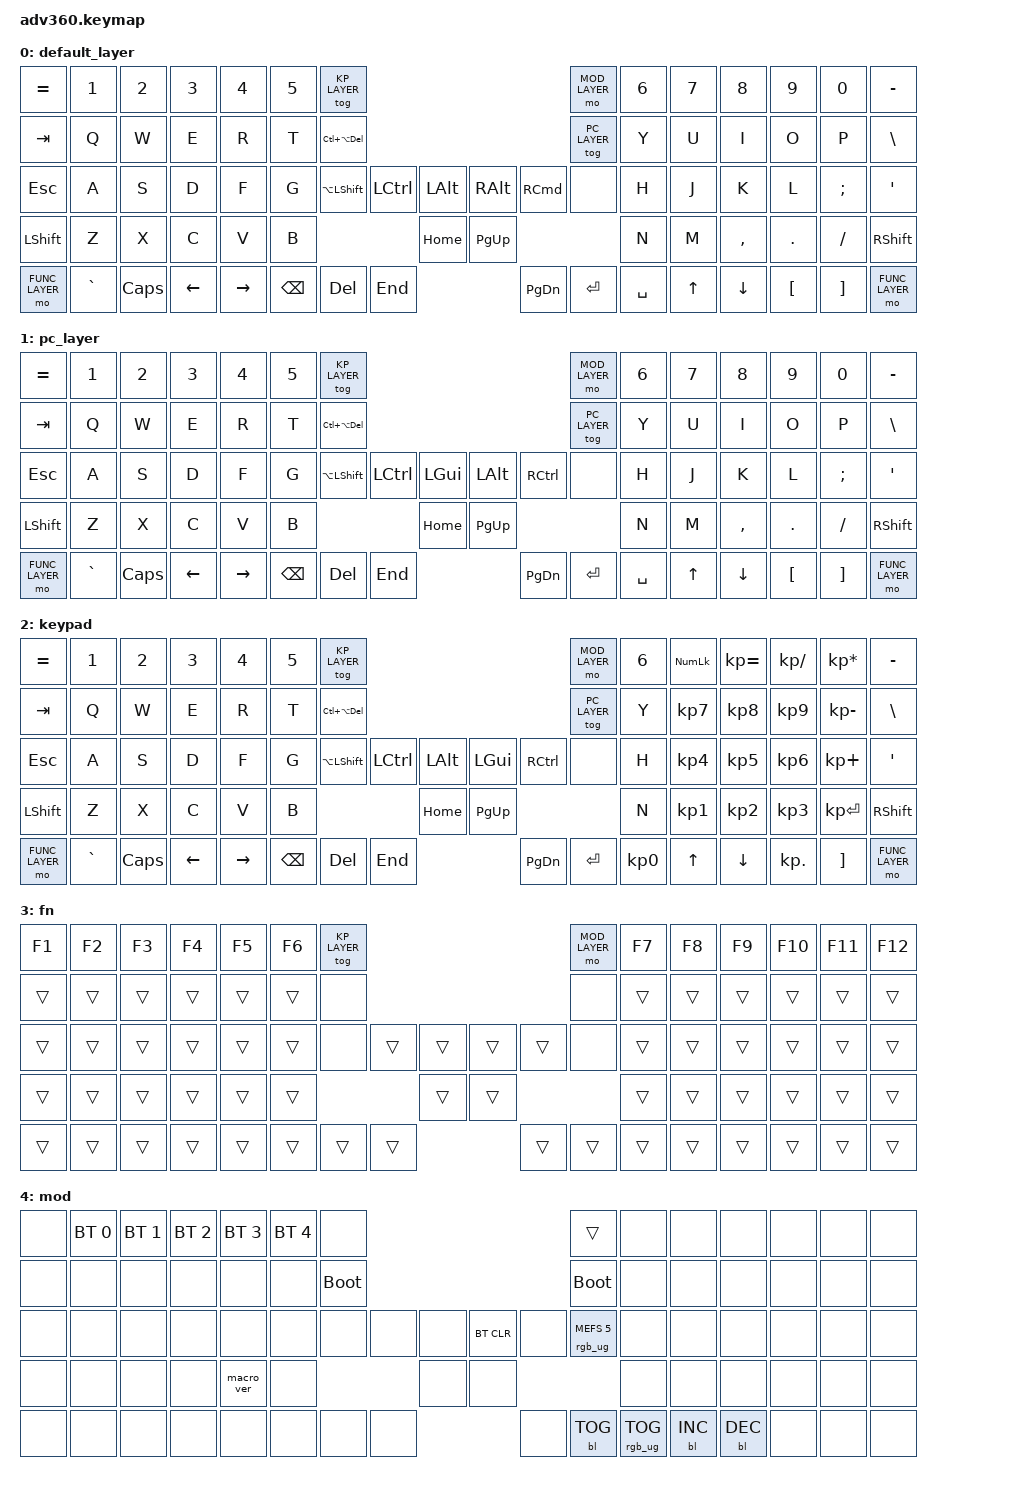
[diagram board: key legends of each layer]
#include <behaviors.dtsi>
#include <dt-bindings/zmk/keys.h>
#include <dt-bindings/zmk/bt.h>
#include <dt-bindings/zmk/rgb.h>
#include <dt-bindings/zmk/backlight.h>

#define DEF_LAYER 0
#define PC_LAYER 1
#define KP_LAYER 2
#define FUNC_LAYER 3
#define MOD_LAYER 4

/ {
    behaviors {
      #include "macros.dtsi"
      #include "version.dtsi"
      #ifndef VERSION_MACRO
      macro_ver: macro_ver {
        compatible = "zmk,behavior-macro";
        label = "macro_version";
        #binding-cells = <0>;
        bindings = <&kp RET>;
      };
      #endif

      hm: homerow_mods {
          compatible = "zmk,behavior-hold-tap";
          label = "HOMEROW_MODS";
          #binding-cells = <2>;
          tapping-term-ms = <200>;
          quick_tap_ms = <175>;
          flavor = "tap-preferred";
          bindings = <&kp>, <&kp>;
      };
    };

  keymap {
    compatible = "zmk,keymap";

    default_layer {
      bindings = <
        &kp EQUAL      &kp N1    &kp N2   &kp N3   &kp N4     &kp N5 &tog KP_LAYER                                                               &mo MOD_LAYER &kp N6 &kp N7 &kp N8    &kp N9   &kp N0   &kp MINUS
        &kp TAB        &kp Q     &kp W    &kp E    &kp R      &kp T  &kp LC(LA(DEL))                                                             &tog PC_LAYER &kp Y  &kp U  &kp I     &kp O    &kp P    &kp BSLH
        &kp ESC        &kp A     &kp S    &kp D    &kp F      &kp G  &kp LA(LSHIFT)             &kp LCTRL &kp LALT &kp RALT  &kp RCMD            &none         &kp H  &kp J  &kp K     &kp L    &kp SEMI &kp SQT
        &kp LSHFT      &kp Z     &kp X    &kp C    &kp V      &kp B                                       &kp HOME &kp PG_UP                                   &kp N  &kp M  &kp COMMA &kp DOT  &kp FSLH &kp RSHFT
        &mo FUNC_LAYER &kp GRAVE &kp CAPS &kp LEFT &kp RIGHT                           &kp BSPC &kp DEL   &kp END  &kp PG_DN &kp ENTER &kp SPACE                      &kp UP &kp DOWN  &kp LBKT &kp RBKT &mo FUNC_LAYER
      >;
    };
    pc_layer {
      bindings = <
        &kp EQUAL      &kp N1    &kp N2   &kp N3   &kp N4     &kp N5 &tog KP_LAYER                                                               &mo MOD_LAYER &kp N6 &kp N7 &kp N8    &kp N9   &kp N0   &kp MINUS
        &kp TAB        &kp Q     &kp W    &kp E    &kp R      &kp T  &kp LC(LA(DEL))                                                             &tog PC_LAYER &kp Y  &kp U  &kp I     &kp O    &kp P    &kp BSLH
        &kp ESC        &kp A     &kp S    &kp D    &kp F      &kp G  &kp LA(LSHIFT)             &kp LCTRL &kp LGUI &kp LALT  &kp RCTRL           &none         &kp H  &kp J  &kp K     &kp L    &kp SEMI &kp SQT
        &kp LSHFT      &kp Z     &kp X    &kp C    &kp V      &kp B                                       &kp HOME &kp PG_UP                                   &kp N  &kp M  &kp COMMA &kp DOT  &kp FSLH &kp RSHFT
        &mo FUNC_LAYER &kp GRAVE &kp CAPS &kp LEFT &kp RIGHT                           &kp BSPC &kp DEL   &kp END  &kp PG_DN &kp ENTER &kp SPACE                      &kp UP &kp DOWN  &kp LBKT &kp RBKT &mo FUNC_LAYER
      >;
    };
    keypad {
      bindings = <
        &kp EQUAL      &kp N1    &kp N2   &kp N3   &kp N4     &kp N5 &tog KP_LAYER                                                               &mo MOD_LAYER &kp N6 &kp KP_NUM &kp KP_EQUAL &kp KP_DIVIDE &kp KP_MULTIPLY &kp MINUS
        &kp TAB        &kp Q     &kp W    &kp E    &kp R      &kp T  &kp LC(LA(DEL))                                                             &tog PC_LAYER &kp Y  &kp KP_N7  &kp KP_N8    &kp KP_N9     &kp KP_MINUS    &kp BSLH
        &kp ESC        &kp A     &kp S    &kp D    &kp F      &kp G  &kp LA(LSHIFT)             &kp LCTRL &kp LALT &kp LGUI  &kp RCTRL           &none         &kp H  &kp KP_N4  &kp KP_N5    &kp KP_N6     &kp KP_PLUS     &kp SQT
        &kp LSHFT      &kp Z     &kp X    &kp C    &kp V      &kp B                                       &kp HOME &kp PG_UP                                   &kp N  &kp KP_N1  &kp KP_N2    &kp KP_N3     &kp KP_ENTER    &kp RSHFT
        &mo FUNC_LAYER &kp GRAVE &kp CAPS &kp LEFT &kp RIGHT                           &kp BSPC &kp DEL   &kp END  &kp PG_DN &kp ENTER &kp KP_N0                      &kp UP     &kp DOWN     &kp KP_DOT    &kp RBKT        &mo FUNC_LAYER
      >;
    };
    fn {
      bindings = <
        &kp F1 &kp F2 &kp F3 &kp F4 &kp F5 &kp F6 &tog KP_LAYER                                           &mo MOD_LAYER &kp F7 &kp F8 &kp F9 &kp F10 &kp F11 &kp F12
        &trans &trans &trans &trans &trans &trans  &none                                                  &none         &trans &trans &trans &trans  &trans  &trans
        &trans &trans &trans &trans &trans &trans  &none               &trans &trans &trans &trans        &none         &trans &trans &trans &trans  &trans  &trans
        &trans &trans &trans &trans &trans &trans                             &trans &trans                             &trans &trans &trans &trans  &trans  &trans
        &trans &trans &trans &trans &trans                      &trans &trans &trans &trans &trans &trans                      &trans &trans &trans  &trans  &trans
      >;
    };
    mod {
      bindings = <
        &none &bt BT_SEL 0 &bt BT_SEL 1 &bt BT_SEL 2 &bt BT_SEL 3 &bt BT_SEL 4 &none                                                                     &trans                 &none        &none        &none        &none &none &none
        &none &none        &none        &none        &none        &none        &bootloader                                                               &bootloader            &none        &none        &none        &none &none &none
        &none &none        &none        &none        &none        &none        &none                   &none &none &bt   BT_CLR &none                    &rgb_ug RGB_MEFS_CMD 5 &none        &none        &none        &none &none &none
        &none &none        &none        &none        &macro_ver   &none                                      &none &none                                                        &none        &none        &none        &none &none &none
        &none &none        &none        &none        &none                                       &none &none &none &none &bl BL_TOG &rgb_ug RGB_TOG                                          &bl BL_INC   &bl BL_DEC   &none &none &none
      >;
    };
  };
};
